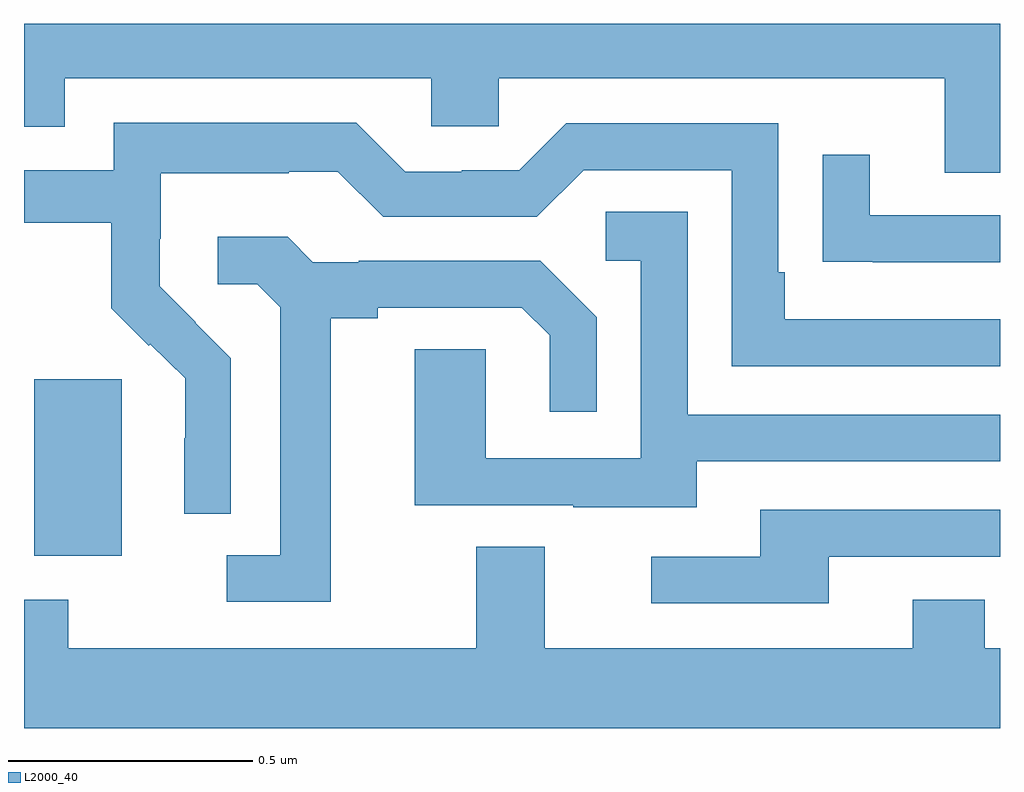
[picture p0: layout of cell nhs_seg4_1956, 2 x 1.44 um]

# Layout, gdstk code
import gdstk
lib = gdstk.Library(unit=1e-6, precision=1e-09)
def R(c, l, rs):  # rectangles x0, y0, x1, y1
    for r in rs: c.add(gdstk.rectangle(r[:2], r[2:], *l))
def P(c, l, *ps):  # polygons
    for p in ps: c.add(gdstk.Polygon(p, *l))
L2000_40 = (2000, 40)

nhs_seg4_1956 = lib.new_cell('nhs_seg4_1956')
R(nhs_seg4_1956, L2000_40, [(134.021,827.81,134.2,828.171)])
P(nhs_seg4_1956, L2000_40, [(136,828.9),(134,828.9),(134,828.689),(134.083,828.689),(134.083,828.788),(134.835,828.788),(134.835,828.69),(134.973,828.69),(134.973,828.788),(135.887,828.788),(135.887,828.594),(136,828.594)],
  [(134.424,828.214),(134.351,828.287),(134.352,828.288),(134.278,828.362),(134.278,828.459),(134.28,828.459),(134.28,828.593),(134.543,828.593),(134.543,828.597),(134.643,828.597),(134.736,828.504),(135.051,828.504),(135.147,828.6),(135.45,828.6),(135.45,828.198),(136,828.198),(136,828.294),(135.559,828.294),(135.559,828.391),(135.546,828.391),(135.546,828.696),(135.111,828.696),(135.015,828.6),(134.897,828.6),(134.897,828.597),(134.781,828.597),(134.681,828.697),(134.184,828.697),(134.184,828.6),(134,828.6),(134,828.492),(134.179,828.492),(134.179,828.317),(134.256,828.24),(134.259,828.243),(134.33,828.173),(134.33,828.05),(134.328,828.05),(134.328,827.896),(134.424,827.896)],
  [(136,828.507),(135.733,828.507),(135.733,828.631),(135.637,828.631),(135.637,828.412),(135.739,828.412),(135.739,828.411),(136,828.411)],
  [(135.379,828.003),(136,828.003),(136,828.099),(135.36,828.099),(135.36,828.515),(135.192,828.515),(135.192,828.414),(135.264,828.414),(135.264,828.009),(134.946,828.009),(134.946,828.233),(134.801,828.233),(134.801,827.913),(135.125,827.913),(135.125,827.909),(135.379,827.909)],
  [(134.629,828.296),(134.725,828.296),(134.725,828.318),(135.02,828.318),(135.077,828.261),(135.077,828.105),(135.174,828.105),(135.174,828.298),(135.058,828.414),(134.686,828.414),(134.686,828.411),(134.592,828.411),(134.54,828.463),(134.397,828.463),(134.397,828.366),(134.478,828.366),(134.525,828.319),(134.525,827.811),(134.415,827.811),(134.415,827.715),(134.629,827.715)],
  [(135.649,827.808),(136,827.808),(136,827.904),(135.509,827.904),(135.509,827.808),(135.285,827.808),(135.285,827.712),(135.649,827.712)],
  [(136,827.62),(135.969,827.62),(135.969,827.719),(135.821,827.719),(135.821,827.62),(135.067,827.62),(135.067,827.828),(134.927,827.828),(134.927,827.62),(134.091,827.62),(134.091,827.719),(134,827.719),(134,827.456),(136,827.456)])

lib.write_gds('nhs_seg4_1956.gds')
